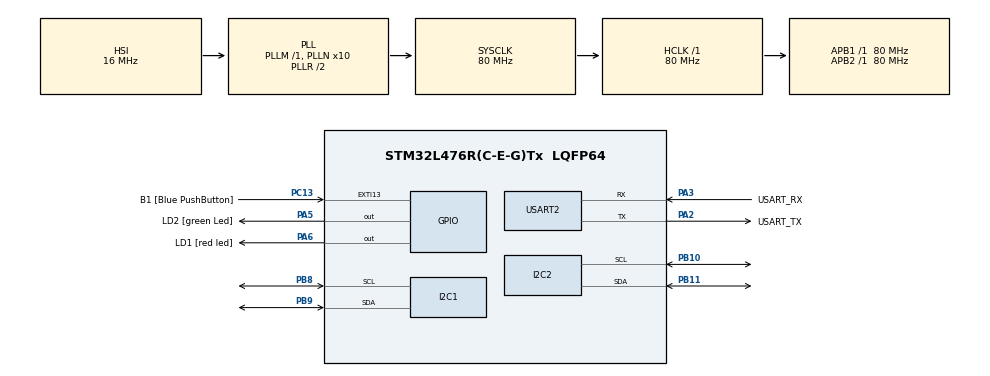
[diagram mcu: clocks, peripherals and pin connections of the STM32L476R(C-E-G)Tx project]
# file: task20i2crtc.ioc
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I2C1.Timing=0x10909CEC
I2C2.Timing=0x10909CEC
Mcu.Family=STM32L4
Mcu.Name=STM32L476R(C-E-G)Tx
Mcu.Package=LQFP64
NVIC.PriorityGroup=NVIC_PRIORITYGROUP_4
NVIC.TIM6_DAC_IRQn=true\:0\:0\:false\:false\:true\:true\:true\:true
NVIC.USART2_IRQn=true\:0\:0\:false\:false\:true\:true\:true\:true
PA13\ (JTMS-SWDIO).GPIO_Label=TMS
PA13\ (JTMS-SWDIO).Mode=Serial_Wire
PA13\ (JTMS-SWDIO).Signal=SYS_JTMS-SWDIO
PA14\ (JTCK-SWCLK).GPIO_Label=TCK
PA14\ (JTCK-SWCLK).Mode=Serial_Wire
PA14\ (JTCK-SWCLK).Signal=SYS_JTCK-SWCLK
PA2.GPIO_Label=USART_TX
PA2.GPIO_Mode=GPIO_MODE_AF_PP
PA2.GPIO_PuPd=GPIO_NOPULL
PA2.GPIO_Speed=GPIO_SPEED_FREQ_VERY_HIGH
PA2.Mode=Asynchronous
PA2.Signal=USART2_TX
PA3.GPIO_Label=USART_RX
PA3.GPIO_Mode=GPIO_MODE_AF_PP
PA3.GPIO_PuPd=GPIO_NOPULL
PA3.GPIO_Speed=GPIO_SPEED_FREQ_VERY_HIGH
PA3.Mode=Asynchronous
PA3.Signal=USART2_RX
PA5.GPIO_Label=LD2 [green Led]
PA5.GPIO_ModeDefaultOutputPP=GPIO_MODE_OUTPUT_PP
PA5.GPIO_PuPd=GPIO_NOPULL
PA5.GPIO_Speed=GPIO_SPEED_FREQ_LOW
PA5.Signal=GPIO_Output
PA6.GPIO_Label=LD1 [red led]
PA6.Signal=GPIO_Output
PB10.Mode=I2C
PB10.Signal=I2C2_SCL
PB11.Mode=I2C
PB11.Signal=I2C2_SDA
PB3\ (JTDO-TRACESWO).GPIO_Label=SWO
PB3\ (JTDO-TRACESWO).Signal=SYS_JTDO-SWO
PB8.Mode=I2C
PB8.Signal=I2C1_SCL
PB9.Mode=I2C
PB9.Signal=I2C1_SDA
PC13.GPIO_Label=B1 [Blue PushButton]
PC13.GPIO_ModeDefaultEXTI=GPIO_MODE_IT_FALLING
PC13.GPIO_PuPd=GPIO_NOPULL
PC13.Signal=GPXTI13
PC14-OSC32_IN\ (PC14).Mode=LSE-External-Oscillator
PC14-OSC32_IN\ (PC14).Signal=RCC_OSC32_IN
PC15-OSC32_OUT\ (PC15).Mode=LSE-External-Oscillator
PC15-OSC32_OUT\ (PC15).Signal=RCC_OSC32_OUT
PH0-OSC_IN\ (PH0).Signal=RCC_OSC_IN
PH1-OSC_OUT\ (PH1).Signal=RCC_OSC_OUT
ProjectManager.HeapSize=0x200
ProjectManager.StackSize=0x400
ProjectManager.TargetToolchain=STM32CubeIDE
RCC.ADCFreq_Value=64000000
RCC.AHBFreq_Value=80000000
RCC.APB1Freq_Value=80000000
RCC.APB1TimFreq_Value=80000000
RCC.APB2Freq_Value=80000000
RCC.APB2TimFreq_Value=80000000
RCC.CortexFreq_Value=80000000
RCC.HCLKFreq_Value=80000000
RCC.HSE_VALUE=8000000
RCC.HSI_VALUE=16000000
RCC.MSI_VALUE=4000000
RCC.PLLN=10
RCC.PLLSourceVirtual=RCC_PLLSOURCE_HSI
RCC.PREFETCH_ENABLE=1
RCC.SYSCLKFreq_VALUE=80000000
RCC.SYSCLKSource=RCC_SYSCLKSOURCE_PLLCLK
RCC.USBFreq_Value=64000000
RCC.VCOOutputFreq_Value=160000000
TIM6.Period=10
TIM6.Prescaler=8000
USART2.VirtualMode-Asynchronous=VM_ASYNC
VP_TIM6_VS_ClockSourceINT.Mode=Enable_Timer
board=NUCLEO-L476RG

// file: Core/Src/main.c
/* USER CODE BEGIN Header */
/**
  ******************************************************************************
  * @file           : main.c
  * @brief          : Main program body
  ******************************************************************************
  * @attention
  *
  * Copyright (c) 2022 STMicroelectronics.
  * All rights reserved.
  *
  * This software is licensed under terms that can be found in the LICENSE file
  * in the root directory of this software component.
  * If no LICENSE file comes with this software, it is provided AS-IS.
  *
  ******************************************************************************
  */
/* USER CODE END Header */
#include "main.h"

/* USER CODE BEGIN Includes */
#include "DateTime.h"
/* USER CODE END Includes */

 I2C_HandleTypeDef hi2c1;
I2C_HandleTypeDef hi2c2;

TIM_HandleTypeDef htim6;

UART_HandleTypeDef huart2;

void SystemClock_Config(void);
static void MX_GPIO_Init(void);
static void MX_USART2_UART_Init(void);
static void MX_I2C1_Init(void);
static void MX_I2C2_Init(void);
static void MX_TIM6_Init(void);

/* USER CODE BEGIN 0 */
static uint32_t milsec = 0;
static uint32_t sec = 0;
CLOCK clk;
int _write(int fd, char* ptr, int len) {
  	HAL_UART_Transmit(&huart2, (uint8_t *) ptr, len, HAL_MAX_DELAY);
  	//UART_Transmit(&huart2, (uint8_t *) ptr, len);
     return len;
  }
void SetITCToR2C(){
	uint8_t arrData[] = {0,0,0,1,1,1,1};
	HAL_I2C_Mem_Write(&hi2c1, 0XD0, 0, 1, arrData, 7, 0XFF);

 }
void GetITCToR2C(int to){
	uint8_t arrData[7];
	HAL_I2C_Mem_Read(&hi2c1, 0XD0, 0,  1, arrData, 7, 0XFF);
	for(int i = 0;i<to;i++){
		printf("%u",arrData[i]);
	}
	printf("\r\n");

}

void HAL_TIM_PeriodElapsedCallback(TIM_HandleTypeDef *htim){
//static uint32_t milsec = 0;
//static uint32_t sec = 0;

	if(htim == &htim6){
		if(milsec%1000 == 0){
			//printf("timer6 %lu\n\r",sec);
			//GetITCToR2C(1);
			//printDateTime(&clk);

			sec++;
		}
		milsec++;

	}

}

/* USER CODE END 0 */

int main(void)
{

  /* MCU Configuration--------------------------------------------------------*/

  /* Reset of all peripherals, Initializes the Flash interface and the Systick. */
  HAL_Init();

  /* Configure the system clock */
  SystemClock_Config();

  /* Initialize all configured peripherals */
  MX_GPIO_Init();
  MX_USART2_UART_Init();
  MX_I2C1_Init();
  MX_I2C2_Init();
  MX_TIM6_Init();
  /* USER CODE BEGIN 2 */
  HAL_TIM_Base_Init(&htim6);
  HAL_TIM_Base_Start_IT(&htim6);
  //SetITCToR2C();
  //GetITCToR2C(7);
  TIME tm;
 // clockInit(&clk,&tm,&hi2c1);
  //I2CMemWrite(&clk);
  /* USER CODE END 2 */

  /* Infinite loop */
  while (1)
  {

    /* USER CODE BEGIN 3 */

	  if (commTask(&huart2))
	  {
		  if(handleCommand(&tm) == 1){
			  clockInit(&clk,&tm,&hi2c1);
			  I2CMemWrite(&clk);
			  printDateTime(&clk);
		  }

	  }
  }
  /* USER CODE END 3 */
}

void SystemClock_Config(void)
{
  RCC_OscInitTypeDef RCC_OscInitStruct = {0};
  RCC_ClkInitTypeDef RCC_ClkInitStruct = {0};

  /** Configure the main internal regulator output voltage
  */
  if (HAL_PWREx_ControlVoltageScaling(PWR_REGULATOR_VOLTAGE_SCALE1) != HAL_OK)
  {
    Error_Handler();
  }

  /** Initializes the RCC Oscillators according to the specified parameters
  * in the RCC_OscInitTypeDef structure.
  */
  RCC_OscInitStruct.OscillatorType = RCC_OSCILLATORTYPE_HSI;
  RCC_OscInitStruct.HSIState = RCC_HSI_ON;
  RCC_OscInitStruct.HSICalibrationValue = RCC_HSICALIBRATION_DEFAULT;
  RCC_OscInitStruct.PLL.PLLState = RCC_PLL_ON;
  RCC_OscInitStruct.PLL.PLLSource = RCC_PLLSOURCE_HSI;
  RCC_OscInitStruct.PLL.PLLM = 1;
  RCC_OscInitStruct.PLL.PLLN = 10;
  RCC_OscInitStruct.PLL.PLLP = RCC_PLLP_DIV7;
  RCC_OscInitStruct.PLL.PLLQ = RCC_PLLQ_DIV2;
  RCC_OscInitStruct.PLL.PLLR = RCC_PLLR_DIV2;
  if (HAL_RCC_OscConfig(&RCC_OscInitStruct) != HAL_OK)
  {
    Error_Handler();
  }

  /** Initializes the CPU, AHB and APB buses clocks
  */
  RCC_ClkInitStruct.ClockType = RCC_CLOCKTYPE_HCLK|RCC_CLOCKTYPE_SYSCLK
                              |RCC_CLOCKTYPE_PCLK1|RCC_CLOCKTYPE_PCLK2;
  RCC_ClkInitStruct.SYSCLKSource = RCC_SYSCLKSOURCE_PLLCLK;
  RCC_ClkInitStruct.AHBCLKDivider = RCC_SYSCLK_DIV1;
  RCC_ClkInitStruct.APB1CLKDivider = RCC_HCLK_DIV1;
  RCC_ClkInitStruct.APB2CLKDivider = RCC_HCLK_DIV1;

  if (HAL_RCC_ClockConfig(&RCC_ClkInitStruct, FLASH_LATENCY_4) != HAL_OK)
  {
    Error_Handler();
  }
}

static void MX_I2C1_Init(void)
{

  hi2c1.Instance = I2C1;
  hi2c1.Init.Timing = 0x10909CEC;
  hi2c1.Init.OwnAddress1 = 0;
  hi2c1.Init.AddressingMode = I2C_ADDRESSINGMODE_7BIT;
  hi2c1.Init.DualAddressMode = I2C_DUALADDRESS_DISABLE;
  hi2c1.Init.OwnAddress2 = 0;
  hi2c1.Init.OwnAddress2Masks = I2C_OA2_NOMASK;
  hi2c1.Init.GeneralCallMode = I2C_GENERALCALL_DISABLE;
  hi2c1.Init.NoStretchMode = I2C_NOSTRETCH_DISABLE;
  if (HAL_I2C_Init(&hi2c1) != HAL_OK)
  {
    Error_Handler();
  }

  /** Configure Analogue filter
  */
  if (HAL_I2CEx_ConfigAnalogFilter(&hi2c1, I2C_ANALOGFILTER_ENABLE) != HAL_OK)
  {
    Error_Handler();
  }

  /** Configure Digital filter
  */
  if (HAL_I2CEx_ConfigDigitalFilter(&hi2c1, 0) != HAL_OK)
  {
    Error_Handler();
  }

}

static void MX_I2C2_Init(void)
{

  hi2c2.Instance = I2C2;
  hi2c2.Init.Timing = 0x10909CEC;
  hi2c2.Init.OwnAddress1 = 0;
  hi2c2.Init.AddressingMode = I2C_ADDRESSINGMODE_7BIT;
  hi2c2.Init.DualAddressMode = I2C_DUALADDRESS_DISABLE;
  hi2c2.Init.OwnAddress2 = 0;
  hi2c2.Init.OwnAddress2Masks = I2C_OA2_NOMASK;
  hi2c2.Init.GeneralCallMode = I2C_GENERALCALL_DISABLE;
  hi2c2.Init.NoStretchMode = I2C_NOSTRETCH_DISABLE;
  if (HAL_I2C_Init(&hi2c2) != HAL_OK)
  {
    Error_Handler();
  }

  /** Configure Analogue filter
  */
  if (HAL_I2CEx_ConfigAnalogFilter(&hi2c2, I2C_ANALOGFILTER_ENABLE) != HAL_OK)
  {
    Error_Handler();
  }

  /** Configure Digital filter
  */
  if (HAL_I2CEx_ConfigDigitalFilter(&hi2c2, 0) != HAL_OK)
  {
    Error_Handler();
  }

}

static void MX_TIM6_Init(void)
{

  TIM_MasterConfigTypeDef sMasterConfig = {0};

  htim6.Instance = TIM6;
  htim6.Init.Prescaler = 8000;
  htim6.Init.CounterMode = TIM_COUNTERMODE_UP;
  htim6.Init.Period = 10;
  htim6.Init.AutoReloadPreload = TIM_AUTORELOAD_PRELOAD_DISABLE;
  if (HAL_TIM_Base_Init(&htim6) != HAL_OK)
  {
    Error_Handler();
  }
  sMasterConfig.MasterOutputTrigger = TIM_TRGO_RESET;
  sMasterConfig.MasterSlaveMode = TIM_MASTERSLAVEMODE_DISABLE;
  if (HAL_TIMEx_MasterConfigSynchronization(&htim6, &sMasterConfig) != HAL_OK)
  {
    Error_Handler();
  }

}

static void MX_USART2_UART_Init(void)
{

  huart2.Instance = USART2;
  huart2.Init.BaudRate = 115200;
  huart2.Init.WordLength = UART_WORDLENGTH_8B;
  huart2.Init.StopBits = UART_STOPBITS_1;
  huart2.Init.Parity = UART_PARITY_NONE;
  huart2.Init.Mode = UART_MODE_TX_RX;
  huart2.Init.HwFlowCtl = UART_HWCONTROL_NONE;
  huart2.Init.OverSampling = UART_OVERSAMPLING_16;
  huart2.Init.OneBitSampling = UART_ONE_BIT_SAMPLE_DISABLE;
  huart2.AdvancedInit.AdvFeatureInit = UART_ADVFEATURE_NO_INIT;
  if (HAL_UART_Init(&huart2) != HAL_OK)
  {
    Error_Handler();
  }

}

static void MX_GPIO_Init(void)
{
  GPIO_InitTypeDef GPIO_InitStruct = {0};

  /* GPIO Ports Clock Enable */
  __HAL_RCC_GPIOC_CLK_ENABLE();
  __HAL_RCC_GPIOH_CLK_ENABLE();
  __HAL_RCC_GPIOA_CLK_ENABLE();
  __HAL_RCC_GPIOB_CLK_ENABLE();

  /*Configure GPIO pin Output Level */
  HAL_GPIO_WritePin(GPIOA, LD2_Pin|LD1_Pin, GPIO_PIN_RESET);

  /*Configure GPIO pin : B1_Pin */
  GPIO_InitStruct.Pin = B1_Pin;
  GPIO_InitStruct.Mode = GPIO_MODE_IT_FALLING;
  GPIO_InitStruct.Pull = GPIO_NOPULL;
  HAL_GPIO_Init(B1_GPIO_Port, &GPIO_InitStruct);

  /*Configure GPIO pins : LD2_Pin LD1_Pin */
  GPIO_InitStruct.Pin = LD2_Pin|LD1_Pin;
  GPIO_InitStruct.Mode = GPIO_MODE_OUTPUT_PP;
  GPIO_InitStruct.Pull = GPIO_NOPULL;
  GPIO_InitStruct.Speed = GPIO_SPEED_FREQ_LOW;
  HAL_GPIO_Init(GPIOA, &GPIO_InitStruct);

}

void Error_Handler(void)
{
  __disable_irq();
  while (1)
  {
  }
}
